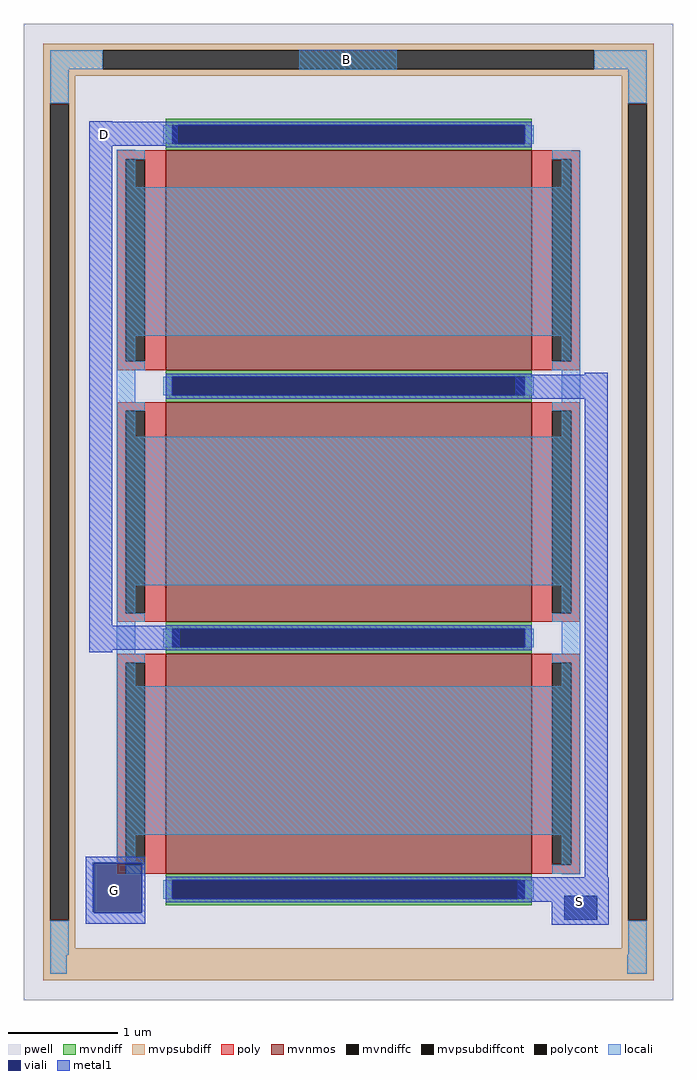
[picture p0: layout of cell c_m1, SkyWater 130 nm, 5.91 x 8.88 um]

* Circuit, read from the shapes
.subckt c_m1 D G S B
XM1 D G S B sky130_fd_pr__nfet_g5v0d10v5 w=3.33 l=2 m=3
.ends

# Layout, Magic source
magic
tech sky130A
magscale 1 2
<< locali >>
rect 450 1634 628 1670
rect 118 1420 152 1488
rect 928 1420 962 1486
rect 118 1150 962 1420
rect 118 966 152 1150
rect 928 966 962 1150
rect 118 696 962 966
rect 118 512 152 696
rect 928 512 962 696
rect 118 242 962 512
rect 118 192 152 242
rect 74 190 162 192
rect 74 102 76 190
rect 928 170 962 242
<< viali >>
rect 76 100 164 190
<< metal1 >>
rect 68 1539 110 1540
rect 68 1495 229 1539
rect 68 622 110 1495
rect 970 1079 1012 1082
rect 843 1035 1012 1079
rect 68 578 233 622
rect 68 574 110 578
rect 62 190 170 202
rect 62 100 76 190
rect 164 100 170 190
rect 970 164 1012 1035
rect 848 120 1014 164
rect 62 80 170 100
rect 910 78 1014 120
use sky130_fd_pr__nfet_g5v0d10v5_JNX2ZR  sky130_fd_pr__nfet_g5v0d10v5_JNX2ZR_0
transform 0 1 540 -1 0 829
box -888 -591 888 591
<< labels >>
flabel metal1 96 1516 96 1516 0 FreeSans 1600 0 0 0 D
port 0 nsew
flabel viali 114 140 116 140 0 FreeSans 1600 0 0 0 G
port 1 nsew
flabel metal1 960 120 960 120 0 FreeSans 1600 0 0 0 S
port 2 nsew
flabel locali 536 1652 536 1652 0 FreeSans 1600 0 0 0 B
port 3 nsew
<< end >>

# cell sky130_fd_pr__nfet_g5v0d10v5_JNX2ZR: kit device sky130_fd_pr__nfet_g5v0d10v5, w 3.33 l 2 m 1 nf 3 diffcov 100 polycov 100 guard 1 glc 1 grc 1 gtc 1 gbc 1 tbcov 100 rlcov 100 topc 1 botc 1 poverlap 0 doverlap 1 lmin 0.50 wmin 0.42 class mosfet compatible {sky130_fd_pr__nfet_01v8 sky130_fd_pr__nfet_01v8_lvt sky130_fd_bs_flash__special_sonosfet_star sky130_fd_pr__nfet_g5v0d10v5 sky130_fd_pr__nfet_05v0_nvt sky130_fd_pr__nfet_03v3_nvt} full_metal 1 conn_gates 0 viasrc 100 viadrn 100 viagate 100 viagb 0 viagr 0 viagl 0 viagt 0 doports 1
